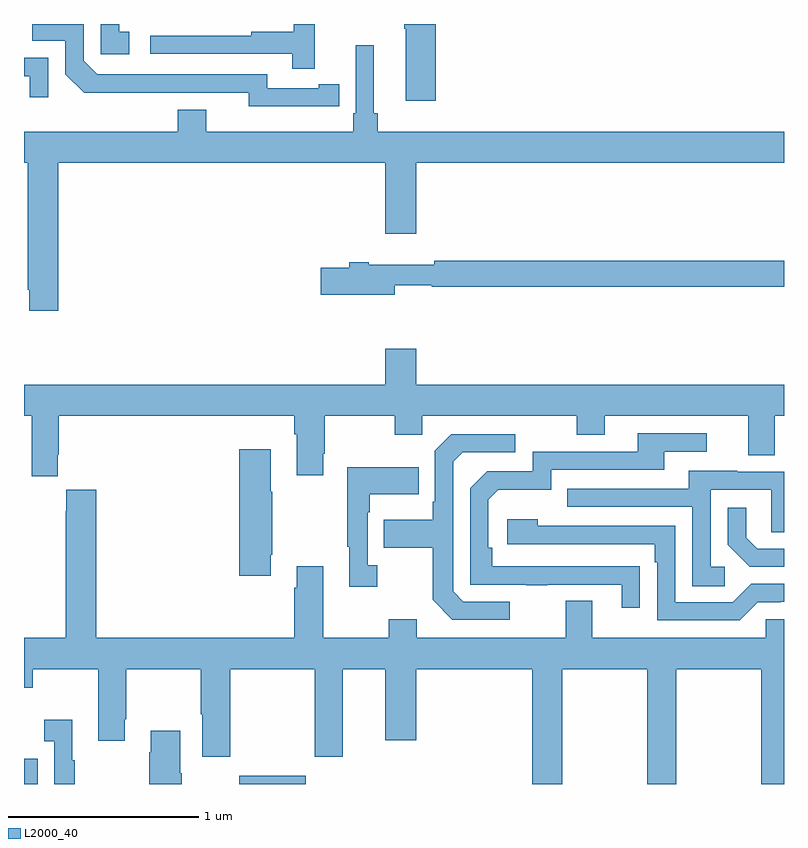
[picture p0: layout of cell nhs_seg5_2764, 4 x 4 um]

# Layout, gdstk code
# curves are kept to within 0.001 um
import gdstk
lib = gdstk.Library(unit=1e-6, precision=1e-09)
def R(c, l, rs):  # rectangles x0, y0, x1, y1
    for r in rs: c.add(gdstk.rectangle(r[:2], r[2:], *l))
def P(c, l, *ps):  # polygons
    for p in ps: c.add(gdstk.Polygon(p, *l))
L2000_40 = (2000, 40)

nhs_seg5_2764 = lib.new_cell('nhs_seg5_2764')
R(nhs_seg5_2764, L2000_40, [(271,878.799,271.073,878.931), (272.132,878.799,272.482,878.842)])
P(nhs_seg5_2764, L2000_40, [(272.552,882.366),(272.66,882.366),(272.66,882.482),(272.552,882.482),(272.552,882.462),(272.28,882.462),(272.28,882.534),(271.386,882.534),(271.314,882.606),(271.314,882.799),(271.044,882.799),(271.044,882.711),(271.218,882.711),(271.218,882.534),(271.316,882.437),(272.184,882.438),(272.184,882.365)],
  [(273.167,882.799),(273.001,882.799),(273.001,882.775),(273.008,882.775),(273.008,882.396),(273.167,882.396)],
  [(272.531,882.799),(272.421,882.799),(272.421,882.758),(272.197,882.758),(272.197,882.738),(271.665,882.738),(271.665,882.642),(272.413,882.642),(272.413,882.564),(272.531,882.564)],
  [(271.555,882.759),(271.502,882.759),(271.502,882.799),(271.404,882.799),(271.404,882.639),(271.555,882.639)],
  [(271.181,882.068),(272.9,882.068),(272.9,881.694),(273.064,881.694),(273.064,882.068),(275,882.068),(275,882.232),(272.861,882.232),(272.861,882.328),(272.842,882.328),(272.842,882.688),(272.745,882.688),(272.745,882.328),(272.732,882.328),(272.732,882.232),(271.96,882.232),(271.96,882.349),(271.808,882.349),(271.808,882.232),(271,882.232),(271,882.068),(271.021,882.068),(271.021,881.401),(271.027,881.401),(271.027,881.289),(271.181,881.289)],
  [(271.128,882.621),(271,882.621),(271,882.525),(271.031,882.525),(271.031,882.414),(271.128,882.414)],
  [(272.95,881.424),(273.146,881.424),(273.146,881.416),(275,881.416),(275,881.552),(273.16,881.552),(273.16,881.533),(272.815,881.533),(272.815,881.546),(272.711,881.546),(272.711,881.516),(272.562,881.516),(272.562,881.374),(272.95,881.374)],
  [(271.177,880.531),(271.184,880.531),(271.184,880.736),(272.423,880.736),(272.423,880.64),(272.435,880.64),(272.435,880.425),(272.575,880.425),(272.575,880.537),(272.583,880.537),(272.583,880.736),(272.95,880.736),(272.95,880.637),(273.096,880.637),(273.096,880.736),(273.91,880.736),(273.91,880.637),(274.057,880.637),(274.057,880.736),(274.811,880.736),(274.811,880.528),(274.951,880.528),(274.951,880.736),(275,880.736),(275,880.9),(273.064,880.9),(273.064,881.089),(272.9,881.089),(272.9,880.9),(271,880.9),(271,880.736),(271.04,880.736),(271.04,880.419),(271.177,880.419)],
  [(274.241,879.944),(273.464,879.945),(273.464,880.042),(273.444,880.042),(273.444,880.296),(273.497,880.349),(273.774,880.349),(273.774,880.452),(274.369,880.452),(274.369,880.548),(274.594,880.548),(274.594,880.644),(274.229,880.644),(274.229,880.548),(273.678,880.548),(273.678,880.446),(273.438,880.446),(273.348,880.356),(273.348,879.849),(273.643,879.849),(273.643,879.844),(273.755,879.844),(273.755,879.849),(274.145,879.849),(274.145,879.726),(274.241,879.726)],
  [(273.556,879.759),(273.312,879.759),(273.258,879.813),(273.258,880.494),(273.309,880.545),(273.586,880.545),(273.586,880.641),(273.249,880.641),(273.162,880.554),(273.162,880.285),(273.15,880.285),(273.15,880.189),(272.893,880.189),(272.893,880.042),(273.15,880.042),(273.15,879.769),(273.255,879.663),(273.556,879.663)],
  [(272.299,880.006),(272.307,880.006),(272.307,880.337),(272.299,880.337),(272.299,880.561),(272.132,880.561),(272.132,879.894),(272.299,879.894)],
  [(272.86,879.95),(272.808,879.95),(272.808,880.229),(272.821,880.229),(272.821,880.325),(273.077,880.325),(273.077,880.465),(272.7,880.465),(272.7,880.049),(272.711,880.049),(272.711,879.837),(272.86,879.837)],
  [(274.687,879.942),(274.614,879.942),(274.614,880.347),(274.932,880.347),(274.932,880.123),(275,880.123),(275,880.443),(274.753,880.443),(274.753,880.447),(274.499,880.447),(274.499,880.353),(273.859,880.353),(273.859,880.257),(274.518,880.257),(274.518,879.841),(274.687,879.841)],
  [(273.834,879.404),(274.279,879.404),(274.279,878.799),(274.434,878.799),(274.434,879.404),(274.879,879.404),(274.879,878.799),(275,878.799),(275,879.666),(274.905,879.666),(274.905,879.568),(273.991,879.568),(273.991,879.763),(273.851,879.763),(273.851,879.568),(273.067,879.568),(273.067,879.667),(272.92,879.667),(272.92,879.568),(272.575,879.568),(272.575,879.946),(272.435,879.946),(272.435,879.833),(272.423,879.833),(272.423,879.568),(271.379,879.568),(271.379,880.348),(271.223,880.348),(271.223,880.235),(271.219,880.235),(271.219,879.568),(271,879.568),(271,879.305),(271.047,879.305),(271.047,879.404),(271.391,879.404),(271.391,879.027),(271.531,879.027),(271.531,879.139),(271.539,879.139),(271.539,879.404),(271.93,879.404),(271.93,879.166),(271.937,879.166),(271.937,878.943),(272.085,878.943),(272.085,879.404),(272.53,879.404),(272.53,878.943),(272.677,878.943),(272.677,879.404),(272.9,879.404),(272.9,879.03),(273.064,879.03),(273.064,879.404),(273.674,879.404),(273.674,878.799),(273.834,878.799)],
  [(275,880.038),(274.858,880.038),(274.801,880.095),(274.801,880.252),(274.704,880.252),(274.704,880.058),(274.82,879.942),(275,879.942)],
  [(274.863,879.756),(274.982,879.756),(274.982,879.759),(275,879.759),(275,879.852),(274.827,879.852),(274.731,879.756),(274.428,879.756),(274.428,880.158),(273.704,880.158),(273.704,880.192),(273.543,880.192),(273.543,880.062),(274.319,880.062),(274.319,879.965),(274.332,879.965),(274.332,879.66),(274.767,879.66)],
  [(271.267,878.923),(271.255,878.923),(271.255,879.136),(271.107,879.136),(271.107,879.023),(271.158,879.023),(271.158,878.799),(271.267,878.799)],
  [(271.83,878.855),(271.822,878.855),(271.822,879.079),(271.667,879.079),(271.667,878.966),(271.66,878.966),(271.66,878.799),(271.83,878.799)])

lib.write_gds('nhs_seg5_2764.gds')
